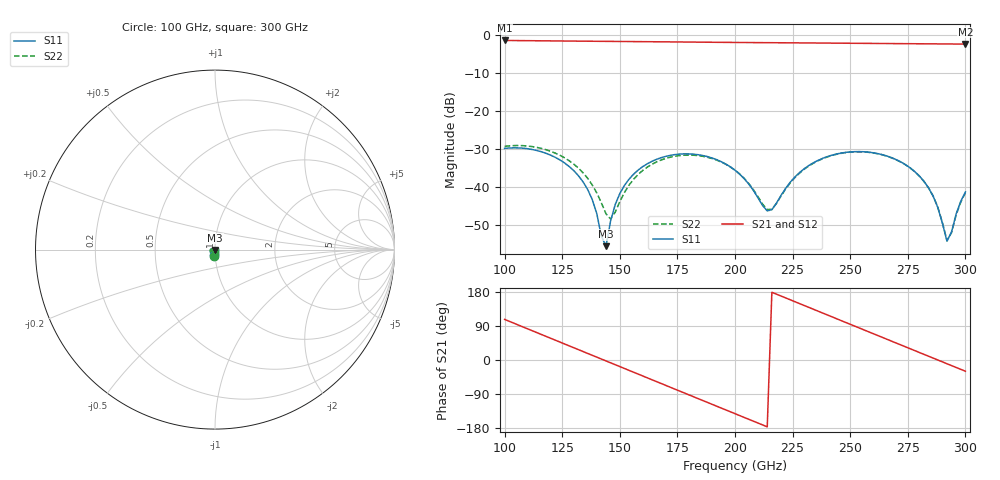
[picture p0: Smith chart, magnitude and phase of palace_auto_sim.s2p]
#  GHZ S DB R 50
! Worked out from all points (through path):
!   101 points, 100 GHz to 300 GHz, reference 50 ohm
!   highest |S21| = -1.53 dB at 100 GHz (marker M1); lowest = -2.5 dB at 300 GHz (marker M2)
!   group delay of S21, straight-line fit = 6.9 ps
!   lowest |S11| = -55.4 dB at 144 GHz (marker M3), VSWR 1.00, Z = 50 - j0.168 ohm
!   |S11| at or under -10 dB: start of sweep to end of sweep
!   |S22| runs from -53.9 to -29.0 dB; largest |S21 - S12| = 1.3e-16
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100  -29.81 -98.4  -1.53 107.1  -1.53 107.1  -29.28 -97.3
116  -30.69 -138.8  -1.62 67.3  -1.62 67.3  -29.82 -136.4
126  -33.61 -163.6  -1.67 42.4  -1.67 42.4  -32.27 -159.7
134  -38.52 178.7  -1.71 22.5  -1.71 22.5  -36.16 -175.0
138  -43.14 173.4  -1.73 12.5  -1.73 12.5  -39.34 -178.7
142  -52.79 -168.7  -1.75 2.6  -1.75 2.6  -44.08 -171.9
144  -55.42 -96.8  -1.76 -2.4  -1.76 -2.4  -46.93 -156.4
146  -48.83 -64.3  -1.77 -7.4  -1.77 -7.4  -48.30 -126.8
148  -44.52 -59.6  -1.78 -12.4  -1.78 -12.4  -46.52 -99.5
152  -39.52 -63.6  -1.80 -22.3  -1.80 -22.3  -41.37 -82.0
158  -35.47 -76.0  -1.83 -37.3  -1.83 -37.3  -36.61 -85.4
168  -32.23 -99.8  -1.88 -62.1  -1.88 -62.1  -32.83 -104.9
184  -31.46 -138.6  -1.97 -101.9  -1.97 -101.9  -31.70 -141.3
200  -35.52 -172.2  -2.05 -141.6  -2.05 -141.6  -35.51 -173.8
214  -46.18 -142.9  -2.11 -176.3  -2.11 -176.3  -45.83 -147.0
234  -33.59 -105.7  -2.19 134.0  -2.19 134.0  -33.70 -107.2
250  -30.73 -139.7  -2.26 94.3  -2.26 94.3  -30.79 -140.7
268  -32.25 179.2  -2.34 49.6  -2.34 49.6  -32.28 178.5
284  -40.14 147.6  -2.41 10.0  -2.41 10.0  -40.14 147.0
288  -45.23 147.2  -2.43 0.1  -2.43 0.1  -45.17 146.4
292  -54.11 -167.9  -2.44 -9.8  -2.44 -9.8  -53.94 -171.1
300  -41.22 -94.6  -2.48 -29.6  -2.48 -29.6  -41.45 -96.0
